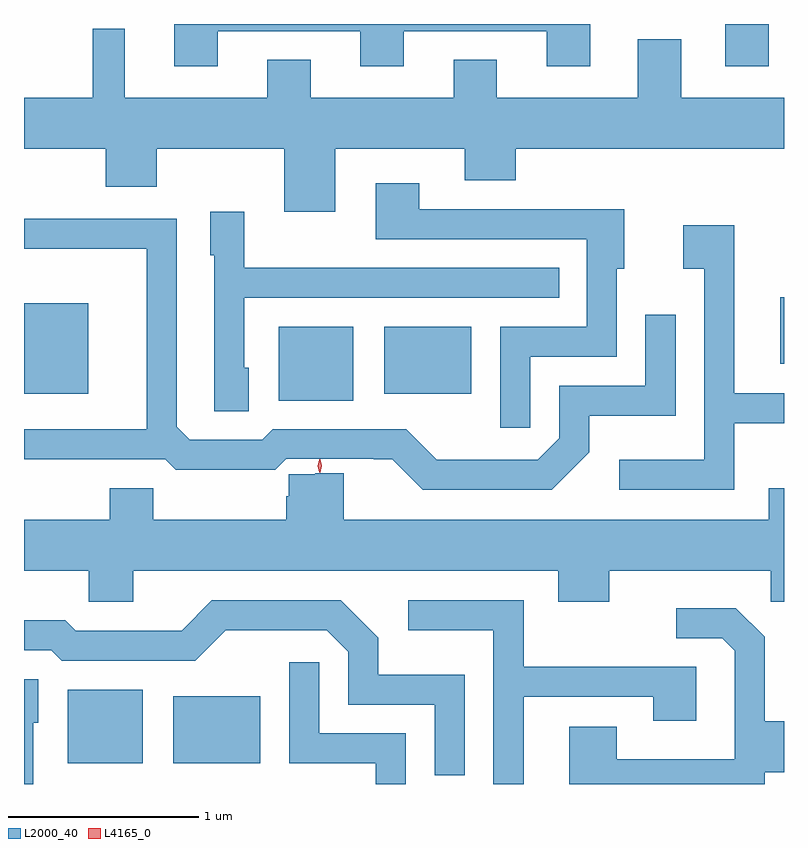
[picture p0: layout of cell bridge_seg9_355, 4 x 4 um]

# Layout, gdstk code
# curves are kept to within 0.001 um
import gdstk
lib = gdstk.Library(unit=1e-6, precision=1e-09)
def R(c, l, rs):  # rectangles x0, y0, x1, y1
    for r in rs: c.add(gdstk.rectangle(r[:2], r[2:], *l))
def P(c, l, *ps):  # polygons
    for p in ps: c.add(gdstk.Polygon(p, *l))
L2000_40 = (2000, 40)
L4165_0 = (4165, 0)

bridge_seg9_355 = lib.new_cell('bridge_seg9_355')
R(bridge_seg9_355, L2000_40, [(966.321,1984.141,966.714,1984.529), (966.876,1984.141,967.334,1984.494), (967.431,1986.051,967.824,1986.439), (966.09,1986.086,966.429,1986.564), (967.986,1986.086,968.444,1986.439), (970.071,1986.246,970.09,1986.594), (969.781,1987.811,970.009,1988.033)])
P(bridge_seg9_355, L2000_40, [(967.109,1987.996),(967.861,1987.996),(967.861,1987.811),(968.089,1987.811),(968.089,1987.996),(968.841,1987.996),(968.841,1987.811),(969.069,1987.811),(969.069,1988.033),(966.881,1988.033),(966.881,1987.811),(967.109,1987.811)],
  [(967.729,1987.376),(968.411,1987.376),(968.411,1987.211),(968.679,1987.211),(968.679,1987.376),(970.09,1987.376),(970.09,1987.644),(969.549,1987.644),(969.549,1987.954),(969.321,1987.954),(969.321,1987.644),(968.579,1987.644),(968.579,1987.844),(968.351,1987.844),(968.351,1987.644),(967.599,1987.644),(967.599,1987.844),(967.371,1987.844),(967.371,1987.644),(966.619,1987.644),(966.619,1988.008),(966.451,1988.008),(966.451,1987.644),(966.09,1987.644),(966.09,1987.376),(966.521,1987.376),(966.521,1987.176),(966.789,1987.176),(966.789,1987.376),(967.461,1987.376),(967.461,1987.046),(967.729,1987.046)],
  [(968.754,1986.281),(969.209,1986.281),(969.209,1986.746),(969.249,1986.746),(969.249,1987.059),(968.169,1987.059),(968.169,1987.194),(967.941,1987.194),(967.941,1986.901),(969.051,1986.901),(969.051,1986.439),(968.596,1986.439),(968.596,1985.908),(968.754,1985.908)],
  [(967.274,1986.224),(967.249,1986.224),(967.249,1986.591),(968.908,1986.591),(968.908,1986.749),(967.249,1986.749),(967.249,1987.044),(967.071,1987.044),(967.071,1986.816),(967.091,1986.816),(967.091,1985.996),(967.274,1985.996)],
  [(969.064,1985.779),(969.064,1985.971),(969.519,1985.971),(969.519,1986.503),(969.361,1986.503),(969.361,1986.129),(968.906,1986.129),(968.906,1985.852),(968.794,1985.739),(968.262,1985.739),(968.102,1985.899),(967.399,1985.899),(967.344,1985.844),(966.962,1985.844),(966.894,1985.912),(966.894,1987.009),(966.09,1987.009),(966.09,1986.851),(966.736,1986.851),(966.736,1985.899),(966.09,1985.899),(966.09,1985.741),(966.834,1985.741),(966.889,1985.686),(967.412,1985.687),(967.471,1985.746),(967.93,1985.746),(967.93,1985.741),(968.029,1985.741),(968.189,1985.581),(968.867,1985.581)],
  [(969.829,1985.931),(970.09,1985.931),(970.09,1986.089),(969.829,1986.089),(969.829,1986.974),(969.561,1986.974),(969.561,1986.746),(969.671,1986.746),(969.671,1985.739),(969.223,1985.739),(969.223,1985.581),(969.829,1985.581)],
  [(966.664,1985.156),(968.901,1985.156),(968.901,1984.991),(969.169,1984.991),(969.169,1985.156),(970.021,1985.156),(970.021,1984.991),(970.09,1984.991),(970.09,1985.589),(970.011,1985.589),(970.011,1985.424),(967.774,1985.424),(967.774,1985.668),(967.622,1985.668),(967.622,1985.663),(967.484,1985.663),(967.484,1985.548),(967.47,1985.548),(967.47,1985.424),(966.769,1985.424),(966.769,1985.589),(966.541,1985.589),(966.541,1985.424),(966.09,1985.424),(966.09,1985.156),(966.431,1985.156),(966.431,1984.991),(966.664,1984.991)],
  [(968.409,1984.609),(967.954,1984.609),(967.954,1984.802),(967.757,1984.999),(967.079,1984.999),(966.919,1984.839),(966.362,1984.839),(966.307,1984.894),(966.09,1984.894),(966.09,1984.736),(966.234,1984.736),(966.289,1984.681),(966.992,1984.681),(967.152,1984.841),(967.684,1984.841),(967.796,1984.729),(967.796,1984.451),(968.251,1984.451),(968.251,1984.078),(968.409,1984.078)],
  [(968.719,1984.491),(969.401,1984.491),(969.401,1984.366),(969.629,1984.366),(969.629,1984.649),(968.719,1984.649),(968.719,1984.999),(968.113,1984.999),(968.113,1984.841),(968.561,1984.841),(968.561,1984.033),(968.719,1984.033)],
  [(969.989,1984.096),(970.09,1984.096),(970.09,1984.364),(969.989,1984.364),(969.989,1984.807),(969.837,1984.959),(969.523,1984.959),(969.523,1984.801),(969.764,1984.801),(969.831,1984.734),(969.831,1984.164),(969.209,1984.164),(969.209,1984.334),(968.961,1984.334),(968.961,1984.033),(969.989,1984.033)],
  [(968.099,1984.299),(967.644,1984.299),(967.644,1984.673),(967.486,1984.673),(967.486,1984.141),(967.941,1984.141),(967.941,1984.033),(968.099,1984.033)],
  [(966.139,1984.356),(966.164,1984.356),(966.164,1984.584),(966.09,1984.584),(966.09,1984.033),(966.139,1984.033)])
P(bridge_seg9_355, L4165_0, [(967.648,1985.672),(967.648,1985.672),(967.638,1985.707),(967.648,1985.742),(967.648,1985.743),(967.649,1985.742),(967.658,1985.707),(967.649,1985.672)],
  [(967.645,1985.675),(967.636,1985.708),(967.645,1985.74),(967.646,1985.741),(967.646,1985.74),(967.656,1985.708),(967.646,1985.675),(967.646,1985.675)])

lib.write_gds('bridge_seg9_355.gds')
